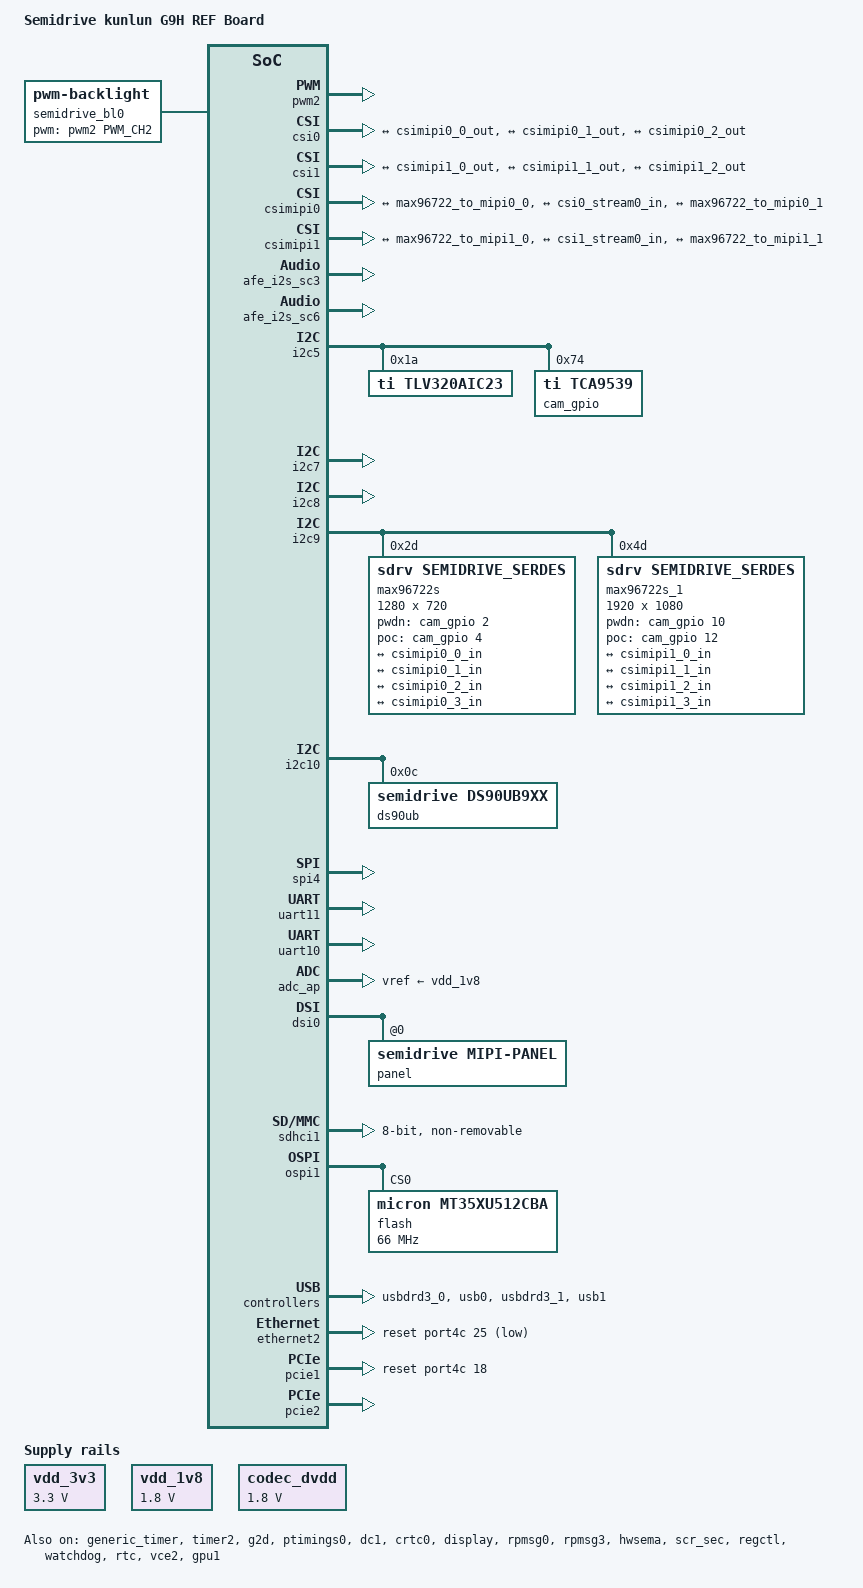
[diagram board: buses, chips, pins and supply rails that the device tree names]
/*
 * Semidrive G9 platform DTS file
 *
 * Copyright (C) 2019, Semidrive  Communications Inc.
 *
 * This file is licensed under a dual GPLv2 or X11 license.
 */

/dts-v1/;

#include "g9h_ap.dtsi"
#include "g9h_ref-clk-ctrl.dtsi"
#include <dt-bindings/pinctrl/pins-sdx9.h>
#include <dt-bindings/memmap/g9h/projects/default/image_cfg.h>
#include <dt-bindings/memory/sdrv_ion.h>
#include <dt-bindings/rpmsg/sd,g9h-default.h>
#include "lcd-timings.dtsi"
#include "lcd_hsd123_serdes_mipi_1920x720.dtsi"
#include <dt-bindings/backlight/sdrv_backlight.h>

/ {
	model = "Semidrive kunlun G9H REF Board";

	compatible = "semidrive,kunlun";

	aliases {
		serial0 = &uart10;
		serial1 = &uart11;
		ethernet1 = &ethernet1;
		ethernet2 = &ethernet2;
	};

	memory@50000000 {
		device_type = "memory";
		reg = <HIGH32(AP1_KERNEL_MEMBASE-0x80000) LOW32(AP1_KERNEL_MEMBASE-0x80000) HIGH32(AP1_KERNEL_MEMSIZE) LOW32(AP1_KERNEL_MEMSIZE)>;
	};

	reserved-memory {
		#address-cells = <2>;
		#size-cells = <2>;
		ranges;

		crashdump {
			/* reserve preloader mem for crashdump */
			compatibel = "crashdump";
			reg = <HIGH32(AP1_PRELOADER_MEMBASE) LOW32(AP1_PRELOADER_MEMBASE) 0 AP1_PRELOADER_MEMSIZE>;
		};

		ramoops {
			compatible = "ramoops";
			reg = <HIGH32(AP1_BOARD_RAMDISK_MEMBASE + AP1_BOARD_RAMDISK_MEMSIZE + 0x1000000)
				LOW32(AP1_BOARD_RAMDISK_MEMBASE + AP1_BOARD_RAMDISK_MEMSIZE + 0x1000000) 0x0 0x100000>;
			record-size = <0x60000>;
			console-size = <0x40000>;
			ftrace-size = <0x20000>;
			pmsg-size = <0x40000>;
		};

		/* Default Common CMA Pool */
		/* QUIRK: Must be kept in the lower 4096 MiBs of DRAM banks for VE */
		linux,cma {
			compatible = "shared-dma-pool";
			reusable;
			size = <0x0 0x6800000>;
			/* 4GB maximum in case of 32-bit only capable devices */
			alloc-ranges = <0x0 0x0 0x0 0xffffffff>;
			linux,cma-default;
		};

		rproc_0_safety: rproc@0 {
			compatible = "shared-dma-pool";
			no-map;
			reg = <0x0 RPMSG0_MEM_POOL_BASE 0x0 RPMSG0_MEM_POOL_SIZE>;
		};

		rproc_1_secure: rproc@1 {
			compatible = "shared-dma-pool";
			no-map;
			reg = <0x0 RPMSG1_MEM_POOL_BASE 0x0 RPMSG1_MEM_POOL_SIZE>;
		};

		/*rproc_2_mpc: rproc@2 {
			compatible = "shared-dma-pool";
			no-map;
			reg = <0x0 RPMSG2_MEM_POOL_BASE 0x0 RPMSG2_MEM_POOL_SIZE>;
		};*/

		rproc_3_ap2: rproc@3 {
			compatible = "shared-dma-pool";
			no-map;
			reg = <0x0 RPMSG3_MEM_POOL_BASE 0x0 RPMSG3_MEM_POOL_SIZE>;
		};
	};

	chosen {
		bootargs = "skip_initramfs noinitrd root=/dev/mmcblk0p8 rootfstype=ext4 rootwait rw init=/sbin/init highres=1 earlycon loglevel=11 console=ttyS0,115200n8 fbcon=map:1";
		stdout-path = "serial0";
	};

	vdd_3v3: fixed-vdd_3v3 {
		compatible = "regulator-fixed";
		regulator-name = "vdd_3v3";
		regulator-min-microvolt = <3300000>;
		regulator-max-microvolt = <3300000>;
	};

	vdd_1v8: fixed-vdd_1v8 {
		compatible = "regulator-fixed";
		regulator-name = "vdd_1v8";
		regulator-min-microvolt = <1800000>;
		regulator-max-microvolt = <1800000>;
	};

	codec_dvdd: fixed-dvdd {
		compatible = "regulator-fixed";
		regulator-name = "codec_dvdd_fixed";
		regulator-min-microvolt = <1800000>;
		regulator-max-microvolt = <1800000>;
	};

	sound_tlv320aic23: sound@tlv320aic23 {
		compatible = "semidrive,g9-ref-tlv320aic23";
		semidrive,audio-codec = <&tlv320aic23>;
		status = "okay";
	};

	semidrive_bl0: panel0-backlight {
		compatible = "pwm-backlight"; /*"sd,rpmsg-bl" for rpmsg; "pwm-backlight" for native*/
		bl_screen-id = /bits/ 32 <1>;
		pwms = <&pwm2 PWM_CH2 PWM_FREQUENCY PWM_POLARITY_INVERSED>;
		brightness-levels = <0 1 2 3 4 5 6 7 8 9 10 11 12 13 14 15 16
							 17 18 19 20 21 22 23 24 25 26 27 28 29 30
							 31 32 33 34 35 36 37 38 39 40 41 42 43 44
							 45 46 47 48 49 50 51 52 53 54 55 56 57 58
							 59 60 61 62 63 64 65 66 67 68 69 70 71 72
							 73 74 75 76 77 78 79 80 81 82 83 84 85 86
							 87 88 89 90 91 92 93 94 95 96 97 98 99 100>;
		default-brightness-level = <50>;
		status = "okay";
	};
};

&pwm2 {
	sd,playback-num-chan = <4>;
	#pwm-cells = <3>;
	status = "okay";
};

&dmac6 {
	status = "okay";
};
&dmac7 {
	status = "okay";
};

&csi0 {
	mbus-type = "mipi-csi2";
	pclk-sample = <1>;
	status = "okay";
	skip_frame = <1>;
	sync = <1>;

	ports {
		csi0_stream0: port@0 {
			csi0_stream0_in: endpoint@0 {
				remote-endpoint = <&csimipi0_0_out>;
			};
		};
		csi0_stream1: port@1 {
			csi0_stream1_in: endpoint@0 {
				remote-endpoint = <&csimipi0_1_out>;
			};
		};
		csi0_stream2: port@2 {
			csi0_stream2_in: endpoint@0 {
				remote-endpoint = <&csimipi0_2_out>;
			};
		};
		csi0_stream3: port@3 {
			csi0_stream3_in: endpoint@0 {
				remote-endpoint = <&csimipi0_3_out>;
			};
		};
	};
};
&csi1 {
	mbus-type = "mipi-csi2";
	pclk-sample = <1>;
	status = "okay";

	ports {
		csi1_stream0: port@0 {
			csi1_stream0_in: endpoint@0 {
				remote-endpoint = <&csimipi1_0_out>;
			};
		};
		csi1_stream1: port@1 {
			csi1_stream1_in: endpoint@0 {
				remote-endpoint = <&csimipi1_1_out>;
			};
		};
		csi1_stream2: port@2 {
			csi1_stream2_in: endpoint@0 {
				remote-endpoint = <&csimipi1_2_out>;
			};
		};
		csi1_stream3: port@3 {
			csi1_stream3_in: endpoint@0 {
				remote-endpoint = <&csimipi1_3_out>;
			};
		};
	};
};

&csimipi0 {
	status = "okay";
	lanerate = <72000000>;
	lanecount = <4>;
	hsa = <10>;
	hbp = <20>;
	hsd = <0x60>;
	output-type = <0x1e>;
	sync = <1>;

	ports {
		#address-cells = <1>;
		#size-cells = <0>;

		port@0 {
			#address-cells = <1>;
			#size-cells = <0>;
			reg = <0>;
			csimipi0_0_in: endpoint@0 {
				remote-endpoint = <&max96722_to_mipi0_0>;
				reg = <0>;
			};
			csimipi0_0_out: endpoint@1 {
				remote-endpoint = <&csi0_stream0_in>;
				reg = <0>;
			};
		};
		port@1 {
			#address-cells = <1>;
			#size-cells = <0>;
			reg = <1>;
			csimipi0_1_in: endpoint@0 {
				remote-endpoint = <&max96722_to_mipi0_1>;
				reg = <1>;
			};
			csimipi0_1_out: endpoint@1 {
				remote-endpoint = <&csi0_stream1_in>;
				reg = <1>;
			};
		};
		port@2 {
			#address-cells = <1>;
			#size-cells = <0>;
			reg = <2>;
			csimipi0_2_in: endpoint@0 {
				remote-endpoint = <&max96722_to_mipi0_2>;
				reg = <2>;
			};
			csimipi0_2_out: endpoint@1 {
				remote-endpoint = <&csi0_stream2_in>;
				reg = <2>;
			};
		};
		port@3 {
			#address-cells = <1>;
			#size-cells = <0>;
			reg = <3>;
			csimipi0_3_in: endpoint@0 {
				remote-endpoint = <&max96722_to_mipi0_3>;
				reg = <3>;
			};
			csimipi0_3_out: endpoint@1 {
				remote-endpoint = <&csi0_stream3_in>;
				reg = <3>;
			};
		};
	};
};

&csimipi1 {
	status = "okay";
	lanerate = <72000000>;
	lanecount = <4>;
	hsa = <10>;
	hbp = <20>;
	hsd = <0x60>;
	output-type = <0x1e>;

	ports {
		#address-cells = <1>;
		#size-cells = <0>;

		port@0 {
			#address-cells = <1>;
			#size-cells = <0>;
			reg = <0>;
			csimipi1_0_in: endpoint@0 {
				remote-endpoint = <&max96722_to_mipi1_0>;
				reg = <0>;
			};
			csimipi1_0_out: endpoint@1 {
				remote-endpoint = <&csi1_stream0_in>;
				reg = <0>;
			};
		};
		port@1 {
			#address-cells = <1>;
			#size-cells = <0>;
			reg = <1>;
			csimipi1_1_in: endpoint@0 {
				remote-endpoint = <&max96722_to_mipi1_1>;
				reg = <1>;
			};
			csimipi1_1_out: endpoint@1 {
				remote-endpoint = <&csi1_stream1_in>;
				reg = <1>;
			};
		};
		port@2 {
			#address-cells = <1>;
			#size-cells = <0>;
			reg = <2>;
			csimipi1_2_in: endpoint@0 {
				remote-endpoint = <&max96722_to_mipi1_2>;
				reg = <2>;
			};
			csimipi1_2_out: endpoint@1 {
				remote-endpoint = <&csi1_stream2_in>;
				reg = <2>;
			};
		};
		port@3 {
			#address-cells = <1>;
			#size-cells = <0>;
			reg = <3>;
			csimipi1_3_in: endpoint@0 {
				remote-endpoint = <&max96722_to_mipi1_3>;
				reg = <3>;
			};
			csimipi1_3_out: endpoint@1 {
				remote-endpoint = <&csi1_stream3_in>;
				reg = <3>;
			};
		};
	};
};

&afe_i2s_sc3{
	dmas = <&dmac7 X9_DMA_SLV_ID_I2S_SC4_TX>, <&dmac7 X9_DMA_SLV_ID_I2S_SC4_RX>;
	dma-names = "tx", "rx";
	status = "okay";
};

&afe_i2s_sc6 {
	dmas = <&dmac7 X9_DMA_SLV_ID_I2S_SC7_TX>, <&dmac7 X9_DMA_SLV_ID_I2S_SC7_RX>;
	dma-names = "tx", "rx";
	status = "okay";
};

&i2c5 {
	status = "okay";
	tlv320aic23: codec@1a {
		compatible = "ti,tlv320aic23";
		reg = <0x1a>;
	};
	cam_gpio: gpio@74 {
		compatible = "ti,tca9539";
		reg = <0x74>;
		#gpio-cells = <2>;
		gpio-controller;
	};
};

&i2c7 {
	status = "okay";
};

&i2c8 {
	status = "okay";
};

&i2c9 {
	status = "okay";

	max96722s:max96722@2d {
		compatible = "sdrv,semidrive_serdes";
		reg = <0x2d>;
		width = <1280>;
		height = <720>;
		pwdn-gpios = <&cam_gpio 2 0>;
		poc-gpios = <&cam_gpio 4 0>;
		poc_addr = <0x28>;
		ser_addr = <0x40>;
		cam_module = "max96722_fengjing_MC163_MAX96705_720p";
		sync = <1>;

		ports {
			#address-cells = <1>;
		        #size-cells = <0>;
			port@0 {
				#address-cells = <1>;
				#size-cells = <0>;
				reg = <0>;
				remap_ser_addr = <0x44>;
				max96722_to_mipi0_0: endpoint@0 {
					remote-endpoint = <&csimipi0_0_in>;
				};
			};
			port@1 {
				#address-cells = <1>;
				#size-cells = <0>;
				reg = <1>;
				remap_ser_addr = <0x45>;
				max96722_to_mipi0_1: endpoint@0 {
					remote-endpoint = <&csimipi0_1_in>;
				};
			};
			port@2 {
				#address-cells = <1>;
				#size-cells = <0>;
				reg = <2>;
				remap_ser_addr = <0x46>;
				max96722_to_mipi0_2: endpoint@0 {
					remote-endpoint = <&csimipi0_2_in>;
				};
			};
			port@3 {
				#address-cells = <1>;
				#size-cells = <0>;
				reg = <3>;
				remap_ser_addr = <0x47>;
				max96722_to_mipi0_3: endpoint@0 {
					remote-endpoint = <&csimipi0_3_in>;
				};
			};
		};
	};

	max96722s_1:max96722@4d {
		compatible = "sdrv,semidrive_serdes";
		reg = <0x4d>;
		width = <1920>;
		height = <1080>;
		pwdn-gpios = <&cam_gpio 10 0>;
		poc-gpios = <&cam_gpio 12 0>;
		poc_addr = <0x29>;
		ser_addr = <0x40>;
		cam_module = "max96722_sengyun_IMX390c_5200_GMSL2_1080p";

		ports {
			#address-cells = <1>;
		        #size-cells = <0>;
			port@0 {
				#address-cells = <1>;
				#size-cells = <0>;
				reg = <0>;
				remap_ser_addr = <0x48>;
				max96722_to_mipi1_0: endpoint@0 {
					remote-endpoint = <&csimipi1_0_in>;
				};
			};
			port@1 {
				#address-cells = <1>;
				#size-cells = <0>;
				reg = <1>;
				remap_ser_addr = <0x49>;
				max96722_to_mipi1_1: endpoint@0 {
					remote-endpoint = <&csimipi1_1_in>;
				};
			};
			port@2 {
				#address-cells = <1>;
				#size-cells = <0>;
				reg = <2>;
				remap_ser_addr = <0x4a>;
				max96722_to_mipi1_2: endpoint@0 {
					remote-endpoint = <&csimipi1_2_in>;
				};
			};
			port@3 {
				#address-cells = <1>;
				#size-cells = <0>;
				reg = <3>;
				remap_ser_addr = <0x4b>;
				max96722_to_mipi1_3: endpoint@0 {
					remote-endpoint = <&csimipi1_3_in>;
				};
			};
		};
	};
};

&i2c10 {
	status = "okay";

	ds90ub: ds90ub9xx@0c {
		compatible = "semidrive,ds90ub9xx";
		reg = <0x0c>;
		addr_ds941 = <0x0C>;
		addr_ds948 = <0x2C>;
		remote-gpio = <0>;
		status = "okay";
	};
};

&spi4 {
	status = "okay";
	//pinctrl-names = "default";
	//pinctrl-0 = <&pinctrl_spi5>;
	/*spi-test@0 {
	 *	compatible = "spi-loopback-test";
	 *	reg = <0>;
	 *	spi-max-frequency = <1000000>;
	 *	status = "okay";
	};*/
};

&spi5 {
	status = "disabled";
};

&spi6 {
	status = "disabled";
};

&spi7 {
	status = "disabled";
};

&uart11 {
	dmas = <&dmac6 X9_DMA_SLV_ID_UART12_TX>, <&dmac6 X9_DMA_SLV_ID_UART12_RX>;
	dma-names = "tx", "rx";
	status = "okay";
};

&uart10 {
	dmas = <&dmac6 X9_DMA_SLV_ID_UART11_TX>, <&dmac6 X9_DMA_SLV_ID_UART11_RX>;
	dma-names = "tx", "rx";
	status = "okay";
};

&adc_ap {
	resolution_value = <0x03>; /*ADC_6_BITS_E0 = 0x00 , ADC_8_BITS_E1 = 0x01 , ADC_10_BITS_E2 = 0x02 , ADC_12_BITS_E3 = 0x03*/
	clksrc_sel = <0x00>; /*ADC_SRC_CLK_ALT_E0 = 0x00 , ADC_SRC_CLK_PCLK_E1 = 0x01 , ADC_SRC_CLK_EXT_E2 = 0x02*/
	clk_value = <24000000>;
	channel_num = <4>;
	use-adc-fifo;
	vref-supply = <&vdd_1v8>;
	status = "okay";
};

&generic_timer {
	interrupts = <1 13 (GIC_CPU_MASK_SIMPLE(1) | IRQ_TYPE_LEVEL_LOW)>,
		<1 14 (GIC_CPU_MASK_SIMPLE(1) | IRQ_TYPE_LEVEL_LOW)>,
		<1 11 (GIC_CPU_MASK_SIMPLE(1) | IRQ_TYPE_LEVEL_LOW)>,
		<1 10 (GIC_CPU_MASK_SIMPLE(1) | IRQ_TYPE_LEVEL_LOW)>;
	status = "okay";
};

&timer2 {
	/*
	* op-mode options:
	* 0 or No such item : timer
	* 1 : pwm-capture
	*/
	op-mode = <1>;
	sd,capture-num-chan = <1>;     //pwm capture channel
	status = "okay";
};

&g2d {
	status = "okay";
};

&dsi0 {
	status = "okay";
	panel {
		compatible = "semidrive,mipi-panel";
		#address-cells = <1>;
		#size-cells = <0>;
		reg = <0>;
		status = "okay";
		semidrive,lcd-attached = "lcd_hsd123_serdes_mipi_1920x720";
	};
};

&dtimings0 {
	native-mode = <&hsd_fhd1920x720>;
};

&ptimings0 {
	status = "okay";
};

&PLL_LVDS1 {
	sdrv,clk-readonly = <0>;
};

&dc1 {
	status = "okay";
};

&crtc0 {
	dpc-master = <&dc1>;
	status = "okay";

	crtc0_out: port {
		crtc0_out_interface: endpoint@0 {
			remote-endpoint = <&dsi_in_crtc0>;
		};
	};
};

&display {
	sdriv,crtc = <&crtc0>;
	status = "okay";
};

&pinctrl {
	pinctrl-names = "default";

	sdx9-evk {
		pinctrl_spi5: spi5grp {
		kunlun,pins = <
			X9_PINCTRL_EMMC2_DATA4__SPI5_SCLK_3	X9_PINCTRL_OPEN_DRAIN_DISABLE
			X9_PINCTRL_EMMC2_DATA5__SPI5_MISO_3	X9_PINCTRL_OPEN_DRAIN_DISABLE
			X9_PINCTRL_EMMC2_DATA6__SPI5_MOSI_3	X9_PINCTRL_OPEN_DRAIN_DISABLE
			X9_PINCTRL_EMMC2_DATA7__SPI5_SS_3	X9_PINCTRL_OPEN_DRAIN_DISABLE
			>;
		};
		pinctrl_mshc1: mshc1grp {
			kunlun,pins = <
				X9_PINCTRL_EMMC1_CLK__MSHC1_CLK_1 		X9_PINCTRL_OPEN_DRAIN_DISABLE
				X9_PINCTRL_EMMC1_CMD__MSHC1_CMD_1		X9_PINCTRL_OPEN_DRAIN_DISABLE
				X9_PINCTRL_EMMC1_DATA0__MSHC1_DATA_0_1	X9_PINCTRL_OPEN_DRAIN_DISABLE
				X9_PINCTRL_EMMC1_DATA1__MSHC1_DATA_1_1	X9_PINCTRL_OPEN_DRAIN_DISABLE
				X9_PINCTRL_EMMC1_DATA2__MSHC1_DATA_2_1	X9_PINCTRL_OPEN_DRAIN_DISABLE
				X9_PINCTRL_EMMC1_DATA3__MSHC1_DATA_3_1	X9_PINCTRL_OPEN_DRAIN_DISABLE
				X9_PINCTRL_EMMC1_DATA4__MSHC1_DATA_4_1	X9_PINCTRL_OPEN_DRAIN_DISABLE
				X9_PINCTRL_EMMC1_DATA5__MSHC1_DATA_5_1	X9_PINCTRL_OPEN_DRAIN_DISABLE
				X9_PINCTRL_EMMC1_DATA6__MSHC1_DATA_6_1	X9_PINCTRL_OPEN_DRAIN_DISABLE
				X9_PINCTRL_EMMC1_DATA7__MSHC1_DATA_7_1	X9_PINCTRL_OPEN_DRAIN_DISABLE
				X9_PINCTRL_EMMC1_STROBE__MSHC1_STB_1		X9_PINCTRL_OPEN_DRAIN_ENABLE
				X9_PINCTRL_EMMC1_RESET_N__MSHC1_RST_N_1	X9_PINCTRL_OPEN_DRAIN_DISABLE
			>;
		};
		pinctrl_gpiotouch1: touchgrp1 {
			kunlun,pins = <
			X9_PINCTRL_I2S_MC_SD2__GPIO_MUX2_IO78_1          0x00
			>;
		};
		pinctrl_gpiotouch2: touchgrp2 {
			kunlun,pins = <
			X9_PINCTRL_I2S_MC_SD4__GPIO_MUX2_IO80_1          0x00
			>;
		};
		pinctrl_gpiotouch3: touchgrp3 {
			kunlun,pins = <
			X9_PINCTRL_I2S_MC_SD5__GPIO_MUX2_IO81_1          0x00
			>;
		};
	};
};

&sdhci1 {
	bus-width = <8>;
	non-removable;
	no-sdio;
	no-sd;
	card-is-emmc;
	disable-wp;
	cap-mmc-highspeed;
	keep-power-in-suspend;
	mmc-ddr-1_8v;
	mmc-hs200-1_8v;
	mmc-hs400-1_8v;
	mmc-hs400-enhanced-strobe;
	status = "okay";
};

&ospi1 {
	status = "okay";

	flash@0 {
		#address-cells = <1>;
		#size-cells = <1>;
		compatible = "micron,mt35xu512cba", "jedec,spi-nor";
		reg = <0>;
		spi-max-frequency = <66000000>;

		m25p,fast-read;
		cdns,page-size = <256>;
		cdns,block-size = <16>;
		cdns,read-delay = <1>;
		cdns,tshsl-ns = <50>;
		cdns,tsd2d-ns = <50>;
		cdns,tchsh-ns = <4>;
		cdns,tslch-ns = <4>;
	};
};

&mbox {
	status = "okay";
};

&rpmsg0 {
	memory-region = <&rproc_0_safety>;
	reg = <0x0 RPMSG0_MEM_HEAD_BASE 0x0 RPMSG0_MEM_HEAD_SIZE>;
	mboxes = <&mbox 0x13 0x1300>;
	status = "okay";
};

&rpmsg1 {
	memory-region = <&rproc_1_secure>;
	reg = <0x0 RPMSG1_MEM_HEAD_BASE 0x0 RPMSG1_MEM_HEAD_SIZE>;
	mboxes = <&mbox 0x14 0x1401>;
};

/*&rpmsg2 {
	memory-region = <&rproc_2_mpc>;
	reg = <0x0 RPMSG2_MEM_HEAD_BASE 0x0 RPMSG2_MEM_HEAD_SIZE>;
	mboxes = <&mbox 0x15 0x1502>;
	status = "okay";
};*/

&rpmsg3 {
	memory-region = <&rproc_3_ap2>;
	reg = <0x0 RPMSG3_MEM_HEAD_BASE 0x0 RPMSG3_MEM_HEAD_SIZE>;
	mboxes = <&mbox 0x19 0x1904>;
	status = "okay";
};

&ipcc0 {
	status = "okay";
};

&ipcc1 {
	status = "okay";
};

&ipcc2 {
	status = "okay";
};

&ipcc4 {
	status = "okay";
};

&usbdrd3_0 {
	status = "okay";
};

&usb0 {
	status = "okay";
};

&usbdrd3_1 {
	status = "okay";
};

&usb1 {
	status = "okay";
};

&ethernet1 {
	status = "disabled";
};

&eth_phy2 {
	compatible = "ethernet-phy-id0141.0dd4", "ethernet-phy-ieee802.3-c22";
	reg = <0xe>;
};

&ethernet2 {
	snps,reset-active-low;
	snps,reset-delays-us = <0 20000 3000>;
	snps,reset-gpio = <&port4c 25 0>;
	status = "okay";
};

&hwsema {
	status = "okay";
};

&scr_sec {
	status = "okay";
};

&gpio4 {
	status = "okay";
};

&pcie1 {
	reset-gpios = <&port4c 18 GPIO_ACTIVE_HIGH>;
	reset-time = <20>;
	status = "okay";
};

&pcie2 {
    status = "okay";
};

&regctl {
	status = "okay";
};

&watchdog {
	wdt,auto-run = "false";
	status = "okay";
};

&rtc {
	status = "okay";
};

&vce2 {
	/*
	 * op-mode options:
	 * bit 0: rng enable(1) or disable(0)
	 * bit 1: ce enable(1) or disable(0)
	 */
	op-mode = <3>;
	status = "okay";
};

&gpu1 {
	resets = <&rstgen RSTGEN_MODULE_GPU2_CORE>, <&rstgen RSTGEN_MODULE_GPU2_SS>;
	reset-names = "gpucore-reset", "gpusys-reset";

	status = "okay";
};

